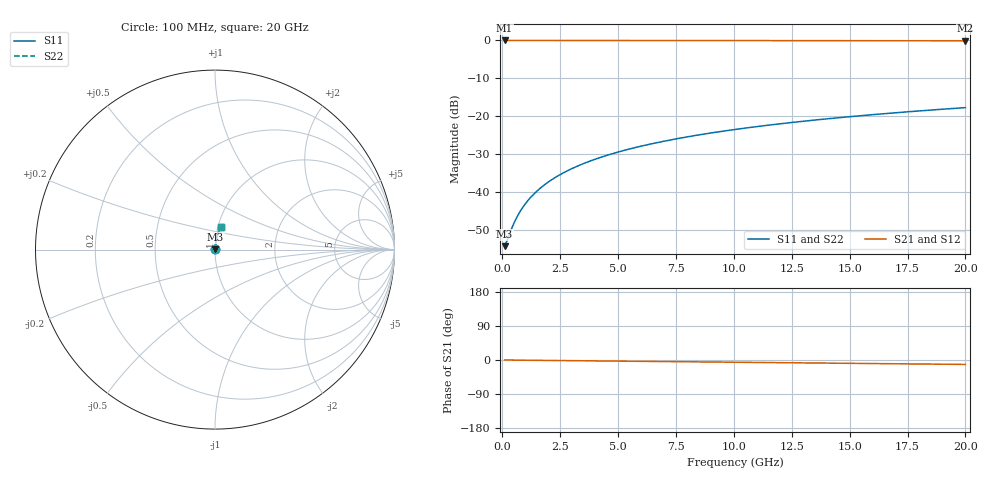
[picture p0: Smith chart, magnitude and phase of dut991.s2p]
! Touchstone file exported from HFSS 2026.1.0
!  File:  C:/ffzhzh/LocalFiles/Ansys_Project_Files/temp_train_TSV_991_1783188178_55132.aedt
!  Generated:  02:05:26 AM Jul  5, 2026
!  Design:  TSV
!  Project:  temp_train_TSV_991_1783188178_55132
! Variables:
!  h_bsmrdl = 2um
!  h_ox = 20um
!  h_rdl = 5um
!  h_sub = 90.53um
!  h_tmrdl = 5um
!  h_tsv = 90.53um
!  h_via = 3um
!  l_bsmrdl = 300um
!  l_sub = 404.8um
!  l_tmrdl = 200um
!  m_sub = 200um
!  pitch = 37.73um
!  r_tsv = 2.4um
!  s_tmrdl = 10um
!  w_bsmrdl = 18um
!  w_sub = 500um
!  w_tmrdl = 12um
!  x_tsv_center1 = 206um
!  x_tsv_center2 = 524um
!  x_tsv_center3 = 736um
!  x_tsv_center4 = 1054um
!  x_tsv_center5 = 1266um
!  x_tsv_center6 = 1584um
# GHz S MA R 50.000000
! Terminal data exported
! Port[1] = TSV1_1_T1
! Port[2] = TSV1_1_T2
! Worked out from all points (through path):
!   200 points, 100 MHz to 20 GHz, reference 50 ohm
!   highest |S21| = -0.02 dB at 100 MHz (marker M1); lowest = -0.1 dB at 20 GHz (marker M2)
!   group delay of S21, straight-line fit = 1.62 ps
!   lowest |S11| = -54.3 dB at 100 MHz (marker M3), VSWR 1.00, Z = 50.2 + j0.0684 ohm
!   |S11| at or under -10 dB: start of sweep to end of sweep
!   |S22| runs from -54.3 to -17.7 dB; largest |S21 - S12| = 5.2e-15
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0.1  0.001929 20.7  0.9982 -0.1  0.9982 -0.1  0.001929 20.7
! Gamma 0 0 0 0
! Port Impedance 50 0 50 0
0.2  0.002266 36.9  0.9982 -0.1  0.9982 -0.1  0.002266 36.9
0.4  0.003277 56.0  0.9982 -0.2  0.9982 -0.2  0.003277 56.0
0.5  0.003861 61.4  0.9982 -0.3  0.9982 -0.3  0.003861 61.4
0.7  0.005096 68.4  0.9981 -0.4  0.9981 -0.4  0.005096 68.4
0.8  0.005731 70.7  0.9981 -0.5  0.9981 -0.5  0.005731 70.7
1  0.007022 74.0  0.9981 -0.6  0.9981 -0.6  0.007022 74.0
1.3  0.008988 77.2  0.9981 -0.8  0.9981 -0.8  0.008988 77.2
1.7  0.01164 79.6  0.998 -1.0  0.998 -1.0  0.01164 79.6
2.2  0.01497 81.3  0.998 -1.3  0.998 -1.3  0.01497 81.3
2.8  0.01897 82.3  0.9978 -1.7  0.9978 -1.7  0.01897 82.3
3.5  0.02365 82.9  0.9977 -2.1  0.9977 -2.1  0.02365 82.9
4.2  0.02832 83.2  0.9975 -2.5  0.9975 -2.5  0.02832 83.2
5  0.03365 83.2  0.9972 -3.0  0.9972 -3.0  0.03365 83.2
5.9  0.03962 83.1  0.9969 -3.5  0.9969 -3.5  0.03962 83.1
6.8  0.04557 82.8  0.9965 -4.0  0.9965 -4.0  0.04557 82.8
8.3  0.05543 82.2  0.9957 -4.9  0.9957 -4.9  0.05543 82.2
10.1  0.06715 81.4  0.9947 -6.0  0.9947 -6.0  0.06715 81.4
11.7  0.07748 80.6  0.9937 -6.9  0.9937 -6.9  0.07748 80.6
13.4  0.08837 79.8  0.9925 -7.9  0.9925 -7.9  0.08837 79.8
16.7  0.1092 78.0  0.9899 -9.8  0.9899 -9.8  0.1092 78.0
20  0.1298 76.3  0.987 -11.7  0.987 -11.7  0.1298 76.3
